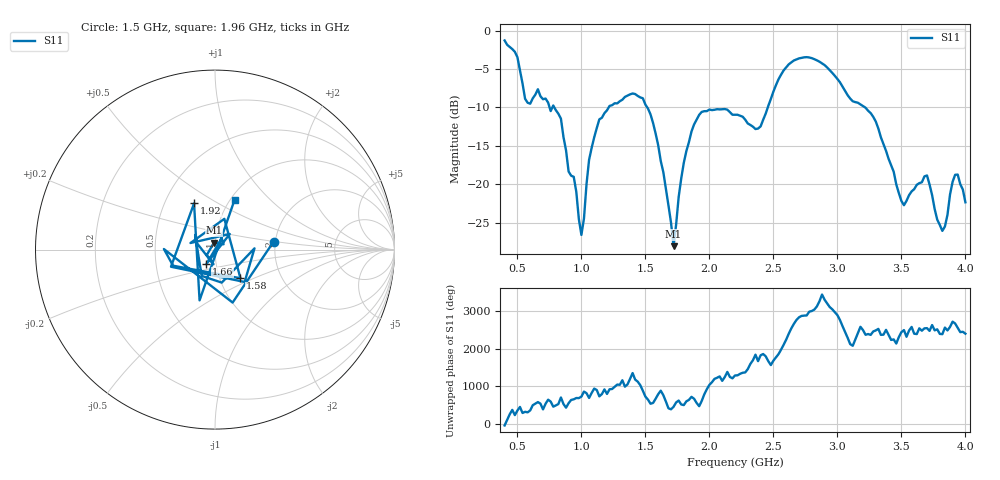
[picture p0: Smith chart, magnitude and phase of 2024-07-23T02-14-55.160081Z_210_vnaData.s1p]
!Created with skrf (http://scikit-rf.org).
# Hz S RI R 50.0
!freq ReS11 ImS11
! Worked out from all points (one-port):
!   181 points, 400 MHz to 4 GHz, reference 50 ohm
!   lowest |S11| = -28.1 dB at 1.72 GHz (marker M1), VSWR 1.08, Z = 49.3 + j3.85 ohm
!   |S11| at or under -10 dB: 788.3 MHz to 1.213 GHz (424.9 MHz wide, 42.5 % of centre); 1.514 GHz to 2.456 GHz (941.7 MHz wide, 47.4 % of centre); 3.216 GHz to end of sweep (the widest 3 of 4)
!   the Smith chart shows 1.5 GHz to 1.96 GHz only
!   S11 on the Smith chart (normalised r, x): 1.5 GHz: 1.96, +0.20; 1.58 GHz: 1.25, -0.42; 1.66 GHz: 0.90, -0.15; 1.92 GHz: 0.70, +0.39; 1.96 GHz: 1.05, +0.64
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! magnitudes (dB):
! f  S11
! 400 MHz  -1.3
! 500 MHz  -3.5
! 560 MHz  -8.9
! 660 MHz  -7.6
! 860 MHz  -13.9
! 940 MHz  -19.0
! 1 GHz  -26.6
! 1.06 GHz  -16.8
! 1.12 GHz  -12.7
! 1.3 GHz  -9.2
! 1.5 GHz  -9.6
! 1.58 GHz  -13.4
! 1.66 GHz  -20.6
! 1.72 GHz  -28.1
! 1.76 GHz  -21.7
! 1.92 GHz  -11.0
! 1.96 GHz  -10.5
! 2.2 GHz  -11.0
! 2.4 GHz  -12.5
! 2.66 GHz  -3.9
! 3.1 GHz  -8.8
! 3.28 GHz  -11.2
! 3.5 GHz  -22.2
! 3.56 GHz  -21.4
! 3.7 GHz  -18.9
! 3.82 GHz  -26.1
! 3.92 GHz  -18.8
! 4 GHz  -22.4
